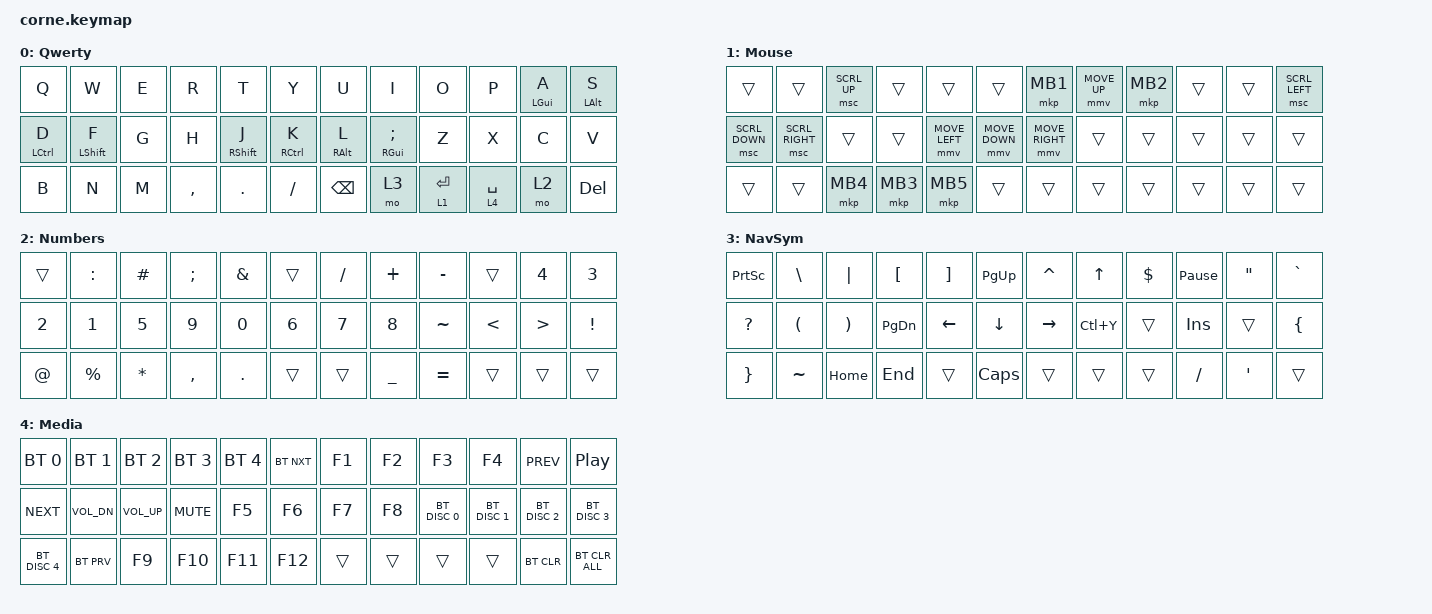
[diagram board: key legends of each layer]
/*
 * Copyright (c) 2020 The ZMK Contributors
 *
 * SPDX-License-Identifier: MIT
 */

#include <behaviors.dtsi>
#include <dt-bindings/zmk/bt.h>
#include <dt-bindings/zmk/keys.h>
#include <dt-bindings/zmk/pointing.h>

/ {
    chosen { zmk,matrix-transform = &five_column_transform; };

    behaviors {
        hrm_right: hrm_right {
            compatible = "zmk,behavior-hold-tap";
            label = "HRM_RIGHT";
            bindings = <&kp>, <&kp>;

            #binding-cells = <2>;
            tapping-term-ms = <200>;
            hold-trigger-key-positions = <0 1 2 3 4 10 11 12 13 14 20 21 22 23 24 30 31 32>;
            flavor = "balanced";
            require-prior-idle-ms = <400>;
            quick-tap-ms = <200>;
        };

        hrm_left: hrm_left {
            compatible = "zmk,behavior-hold-tap";
            label = "HRM_LEFT";
            bindings = <&kp>, <&kp>;

            #binding-cells = <2>;
            tapping-term-ms = <200>;
            hold-trigger-key-positions = <5 6 7 8 9 15 16 17 18 19 25 26 27 28 29 33 34 35>;
            flavor = "balanced";
            require-prior-idle-ms = <400>;
            quick-tap-ms = <200>;
        };

        hrm_rshift: hrm_rshift {
            compatible = "zmk,behavior-hold-tap";
            label = "HRM_RSHIFT";
            bindings = <&kp>, <&kp>;

            #binding-cells = <2>;
            tapping-term-ms = <200>;
            hold-trigger-key-positions = <0 1 2 3 4 10 11 12 13 14 20 21 22 23 24 30 31 32>;
            flavor = "balanced";
            quick-tap-ms = <200>;
        };

        hrm_lshift: hrm_lshift {
            compatible = "zmk,behavior-hold-tap";
            label = "HRM_LSHIFT";
            bindings = <&kp>, <&kp>;

            #binding-cells = <2>;
            tapping-term-ms = <200>;
            hold-trigger-key-positions = <5 6 7 8 9 15 16 17 18 19 25 26 27 28 29 33 34 35>;
            flavor = "balanced";
            quick-tap-ms = <200>;
        };

        hrm_right_long: hrm_right_long {
            compatible = "zmk,behavior-hold-tap";
            label = "HRM_RIGHT_LONG";
            bindings = <&kp>, <&kp>;

            #binding-cells = <2>;
            tapping-term-ms = <200>;
            hold-trigger-key-positions = <0 1 2 3 4 10 11 12 13 14 20 21 22 23 24 30 31 32>;
            flavor = "tap-preferred";
            require-prior-idle-ms = <400>;
            quick-tap-ms = <200>;
        };

        hrm_left_long: hrm_left_long {
            compatible = "zmk,behavior-hold-tap";
            label = "HRM_LEFT_LONG";
            bindings = <&kp>, <&kp>;

            #binding-cells = <2>;
            tapping-term-ms = <200>;
            hold-trigger-key-positions = <5 6 7 8 9 15 16 17 18 19 25 26 27 28 29 33 34 35>;
            flavor = "tap-preferred";
            require-prior-idle-ms = <400>;
            quick-tap-ms = <200>;
        };

        mod_tap_left: mod_tap_left {
            compatible = "zmk,behavior-hold-tap";
            label = "MOD_TAP_LEFT";
            bindings = <&mo>, <&kp>;

            #binding-cells = <2>;
            tapping-term-ms = <200>;
            hold-trigger-key-positions = <0 1 2 3 4 10 11 12 13 14 20 21 22 23 24 30 31 32>;
            flavor = "tap-preferred";
            require-prior-idle-ms = <400>;
            quick-tap-ms = <200>;
        };

        mod_tap_right: mod_tap_right {
            compatible = "zmk,behavior-hold-tap";
            label = "MOD_TAP_RIGHT";
            bindings = <&mo>, <&kp>;

            #binding-cells = <2>;
            tapping-term-ms = <200>;
            hold-trigger-key-positions = <5 6 7 8 9 15 16 17 18 19 25 26 27 28 29 33 34 35>;
            flavor = "tap-preferred";
            require-prior-idle-ms = <400>;
            quick-tap-ms = <200>;
        };
    };

    combos {
        compatible = "zmk,combos";

        caps_word {
            bindings = <&caps_word>;
            key-positions = <13 11>;
            layers = <0>;
            require-prior-idle-ms = <250>;
        };

        escape {
            bindings = <&kp ESC>;
            key-positions = <13 12>;
            layers = <0 4>;
        };

        tab {
            bindings = <&kp TAB>;
            key-positions = <16 17>;
            layers = <0 4>;
        };

        lock_screen {
            bindings = <&lock_screen>;
            key-positions = <9 0>;
            require-prior-idle-ms = <250>;
            layers = <0>;
        };

        comment {
            bindings = <&ctrl_fslh>;
            key-positions = <16 18>;
            layers = <0 4>;
        };
    };

    macros {
        lock_screen: lock_screen {
            compatible = "zmk,behavior-macro";
            #binding-cells = <0>;
            bindings = <&kp LG(L)>;
            label = "LOCK_SCREEN";
        };

        ctrl_fslh: ctrl_fslh {
            compatible = "zmk,behavior-macro";
            #binding-cells = <0>;
            bindings = <&kp LC(FSLH)>;
            label = "CTRL_FSLH";
        };
    };

    keymap {
        compatible = "zmk,keymap";

        Qwerty {
            display-name = "Qwerty";
            bindings = <
&kp Q              &kp W                &kp E  &kp R      &kp T                &kp Y                 &kp U              &kp I                      &kp O                &kp P                   &hrm_left_long LGUI A  &hrm_left LALT S
&hrm_left LCTRL D  &hrm_lshift LSHFT F  &kp G  &kp H      &hrm_rshift RSHFT J  &hrm_right RCTRL K    &hrm_right RALT L  &hrm_right_long RGUI SEMI  &kp Z                &kp X                   &kp C                  &kp V
&kp B              &kp N                &kp M  &kp COMMA  &kp DOT              &kp FSLH              &kp BSPC           &mo 3                      &mod_tap_left 1 RET  &mod_tap_right 4 SPACE  &mo 2                  &kp DEL
            >;
        };

        Mouse {
            bindings = <
&trans          &trans           &msc SCRL_UP  &trans    &trans          &trans            &mkp MB1         &mmv MOVE_UP  &mkp MB2  &trans  &trans  &msc SCRL_LEFT
&msc SCRL_DOWN  &msc SCRL_RIGHT  &trans        &trans    &mmv MOVE_LEFT  &mmv MOVE_DOWN    &mmv MOVE_RIGHT  &trans        &trans    &trans  &trans  &trans
&trans          &trans           &mkp MB4      &mkp MB3  &mkp MB5        &trans            &trans           &trans        &trans    &trans  &trans  &trans
            >;

            label = "Mouse";
        };

        Numbers {
            display-name = "Numbers";
            bindings = <
&trans  &kp COLON  &kp HASH  &kp SEMI   &kp AMPS  &trans    &kp FSLH  &kp PLUS   &kp MINUS  &trans  &kp N4  &kp N3
&kp N2  &kp N1     &kp N5    &kp N9     &kp N0    &kp N6    &kp N7    &kp N8     &kp TILDE  &kp LT  &kp GT  &kp EXCL
&kp AT  &kp PRCNT  &kp STAR  &kp COMMA  &kp DOT   &trans    &trans    &kp UNDER  &kp EQUAL  &trans  &trans  &trans
            >;
        };

        NavSym {
            bindings = <
&kp PSCRN  &kp BSLH   &kp PIPE  &kp LBKT   &kp RBKT  &kp PG_UP    &kp CARET  &kp UP     &kp DLLR  &kp PAUSE_BREAK  &kp DQT  &kp GRAVE
&kp QMARK  &kp LPAR   &kp RPAR  &kp PG_DN  &kp LEFT  &kp DOWN     &kp RIGHT  &kp LC(Y)  &trans    &kp INS          &trans   &kp LBRC
&kp RBRC   &kp TILDE  &kp HOME  &kp END    &trans    &kp CAPS     &trans     &trans     &trans    &kp FSLH         &kp SQT  &trans
            >;

            label = "NavSym";
        };

        Media {
            display-name = "Media";
            bindings = <
&bt BT_SEL 0   &bt BT_SEL 1  &bt BT_SEL 2  &bt BT_SEL 3  &bt BT_SEL 4  &bt BT_NXT    &kp F1  &kp F2  &kp F3         &kp F4         &kp C_PREV     &kp C_PP
&kp C_NEXT     &kp C_VOL_DN  &kp C_VOL_UP  &kp C_MUTE    &kp F5        &kp F6        &kp F7  &kp F8  &bt BT_DISC 0  &bt BT_DISC 1  &bt BT_DISC 2  &bt BT_DISC 3
&bt BT_DISC 4  &bt BT_PRV    &kp F9        &kp F10       &kp F11       &kp F12       &trans  &trans  &trans         &trans         &bt BT_CLR     &bt BT_CLR_ALL
            >;
        };
    };
};
